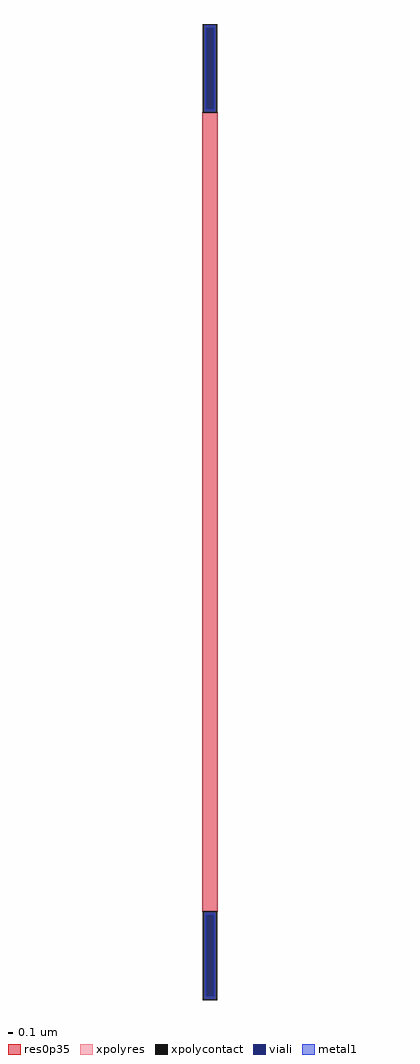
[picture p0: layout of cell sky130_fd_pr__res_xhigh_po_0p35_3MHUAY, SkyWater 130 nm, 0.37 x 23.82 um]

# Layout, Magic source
magic
tech sky130A
magscale 1 2
<< xpolycontact >>
rect -35 1950 35 2382
rect -35 -2382 35 -1950
<< xpolyres >>
rect -35 -1950 35 1950
<< viali >>
rect -19 1967 19 2364
rect -19 -2364 19 -1967
<< metal1 >>
rect -25 2364 25 2376
rect -25 1967 -19 2364
rect 19 1967 25 2364
rect -25 1955 25 1967
rect -25 -1967 25 -1955
rect -25 -2364 -19 -1967
rect 19 -2364 25 -1967
rect -25 -2376 25 -2364
<< res0p35 >>
rect -37 -1952 37 1952
<< properties >>
string gencell sky130_fd_pr__res_xhigh_po_0p35
string library sky130
string parameters w 0.350 l 19.5 m 1 nx 1 wmin 0.350 lmin 0.50 rho 2000 val 112.504k dummy 0 dw 0.0 term 188.2 sterm 0.0 caplen 0 wmax 0.350 guard 0 glc 0 grc 0 gtc 0 gbc 0 compatible {sky130_fd_pr__res_xhigh_po_0p35  sky130_fd_pr__res_xhigh_po_0p69 sky130_fd_pr__res_xhigh_po_1p41  sky130_fd_pr__res_xhigh_po_2p85 sky130_fd_pr__res_xhigh_po_5p73} full_metal 0 n_guard 0 hv_guard 0 vias 1 viagb 0 viagt 0 viagl 0 viagr 0
<< end >>
